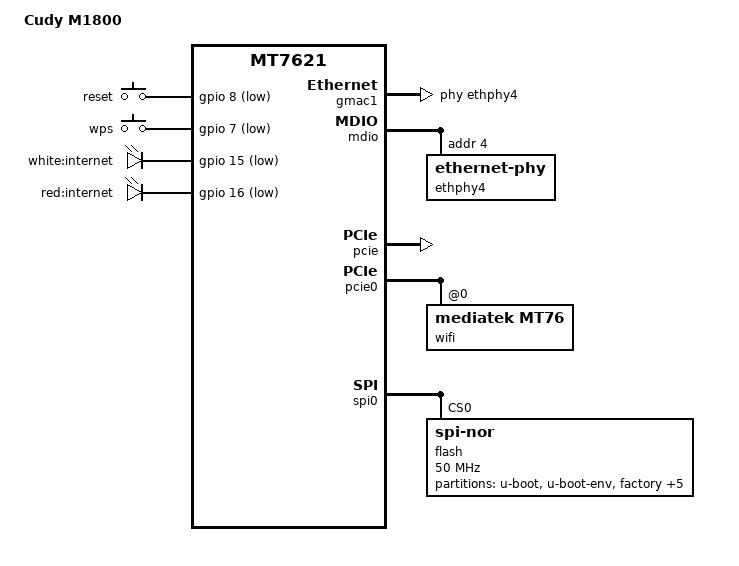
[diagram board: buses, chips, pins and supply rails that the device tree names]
// SPDX-License-Identifier: GPL-2.0-or-later OR MIT

#include "mt7621.dtsi"

#include <dt-bindings/gpio/gpio.h>
#include <dt-bindings/input/input.h>

/ {
	compatible = "cudy,m1800", "mediatek,mt7621-soc";
	model = "Cudy M1800";

	aliases {
		led-boot = &led_internet_white;
		led-failsafe = &led_internet_white;
		led-running = &led_internet_white;
		led-upgrade = &led_internet_white;
		label-mac-device = &gmac0;
	};

	chosen {
		bootargs = "console=ttyS0,115200";
	};

	keys {
		compatible = "gpio-keys";

		reset {
			label = "reset";
			gpios = <&gpio 8 GPIO_ACTIVE_LOW>;
			linux,code = <KEY_RESTART>;
		};

		wps {
			label = "wps";
			gpios = <&gpio 7 GPIO_ACTIVE_LOW>;
			linux,code = <KEY_WPS_BUTTON>;
		};
	};

	leds {
		compatible = "gpio-leds";

		led_internet_white: internet-white {
			label = "white:internet";
			gpios = <&gpio 15 GPIO_ACTIVE_LOW>;
		};

		internet-red {
			label = "red:internet";
			gpios = <&gpio 16 GPIO_ACTIVE_LOW>;
		};
	};
};

&gmac0 {
	nvmem-cells = <&macaddr_bdinfo_de00>;
	nvmem-cell-names = "mac-address";
	mac-address-increment = <1>;
};

&gmac1 {
	status = "okay";
	label = "lan";
	phy-handle = <&ethphy4>;

	nvmem-cells = <&macaddr_bdinfo_de00>;
	nvmem-cell-names = "mac-address";
};

&mdio {
	ethphy4: ethernet-phy@4 {
		reg = <4>;
	};
};

&pcie {
	status = "okay";
};

&pcie0 {
	wifi@0,0 {
		compatible = "mediatek,mt76";
		reg = <0x0000 0 0 0 0>;
		mediatek,mtd-eeprom = <&factory 0x0000>;
		mediatek,disable-radar-background;
	};
};

&spi0 {
	status = "okay";

	flash@0 {
		compatible = "jedec,spi-nor";
		reg = <0>;
		spi-max-frequency = <50000000>;
		m25p,fast-read;
		broken-flash-reset;

		partitions {
			compatible = "fixed-partitions";
			#address-cells = <1>;
			#size-cells = <1>;

			partition@0 {
				label = "u-boot";
				reg = <0x0 0x30000>;
				read-only;
			};

			partition@30000 {
				label = "u-boot-env";
				reg = <0x30000 0x10000>;
				read-only;
			};

			factory: partition@40000 {
				label = "factory";
				reg = <0x40000 0x10000>;
				read-only;
			};

			partition@50000 {
				compatible = "denx,uimage";
				label = "firmware";
				reg = <0x50000 0xfb0000>;
			};

			partition@1000000 {
				label = "app";
				reg = <0x1000000 0xfd0000>;
				read-only;
			};

			partition@1fd0000 {
				label = "debug";
				reg = <0x1fd0000 0x10000>;
				read-only;
			};

			partition@1fe0000 {
				label = "backup";
				reg = <0x1fe0000 0x10000>;
				read-only;
			};

			partition@1ff0000 {
				label = "bdinfo";
				reg = <0x1ff0000 0x10000>;
				read-only;

				compatible = "nvmem-cells";
				#address-cells = <1>;
				#size-cells = <1>;

				macaddr_bdinfo_de00: macaddr@de00 {
					reg = <0xde00 0x6>;
				};
			};
		};
	};
};

&state_default {
	gpio {
		groups = "jtag", "uart3";
		function = "gpio";
	};
};

&switch0 {
	ports {
		port@3 {
			status = "okay";
			label = "wan";
		};
	};
};
